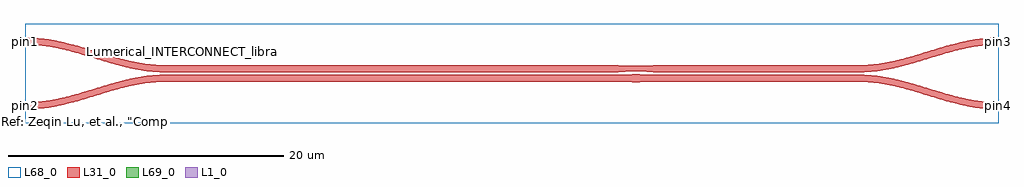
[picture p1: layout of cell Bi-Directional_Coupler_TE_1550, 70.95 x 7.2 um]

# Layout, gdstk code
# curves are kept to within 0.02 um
import gdstk
lib = gdstk.Library(unit=1e-6, precision=1e-09)
def R(c, l, rs):  # rectangles x0, y0, x1, y1
    for r in rs: c.add(gdstk.rectangle(r[:2], r[2:], *l))
def P(c, l, *ps):  # polygons
    for p in ps: c.add(gdstk.Polygon(p, *l))
L1_0 = (1, 0)
L31_0 = (31, 0)
L68_0 = (68, 0)
L69_0 = (69, 0)

bi_directional_coupler_t = lib.new_cell('Bi-Directional_Coupler_TE_1550')
R(bi_directional_coupler_t, L1_0, [(-35.45,-2.6,-35.35,-2.1), (35.2,-2.6,35.3,-2.1), (-35.45,2.1,-35.35,2.6), (35.2,2.1,35.3,2.6)])
R(bi_directional_coupler_t, L31_0, [(8.65,-0.65,9.2,-0.05), (-25.35,-0.6,7.65,-0.1), (10.2,-0.6,25.2,-0.1), (-25.35,0.1,7.65,0.6), (10.2,0.1,25.2,0.6), (8.65,0.15,9.2,0.55)])
P(bi_directional_coupler_t, L31_0, [(-25.35,0.1),(-26.412,0.157),(-27.547,0.332),(-28.852,0.645),(-31.688,1.491),(-32.858,1.794),(-34.041,2.01),(-34.742,2.08),(-35.35,2.1),(-35.35,2.6),(-34.288,2.543),(-33.153,2.368),(-31.848,2.055),(-29.012,1.209),(-27.842,0.906),(-26.659,0.69),(-25.958,0.62),(-25.35,0.6)],
  [(-35.35,-2.6),(-35.35,-2.1),(-34.742,-2.08),(-34.041,-2.01),(-32.858,-1.794),(-31.688,-1.491),(-28.852,-0.645),(-27.547,-0.332),(-26.412,-0.157),(-25.35,-0.1),(-25.35,-0.6),(-25.958,-0.62),(-26.659,-0.69),(-27.842,-0.906),(-29.012,-1.209),(-31.848,-2.055),(-33.153,-2.368),(-34.288,-2.543)],
  [(25.2,0.1),(25.2,0.6),(25.808,0.62),(26.509,0.69),(27.692,0.906),(28.862,1.209),(31.698,2.055),(33.003,2.368),(34.138,2.543),(35.2,2.6),(35.2,2.1),(34.592,2.08),(33.891,2.01),(32.708,1.794),(31.538,1.491),(28.702,0.645),(27.397,0.332),(26.262,0.157)],
  [(35.2,-2.6),(34.138,-2.543),(33.003,-2.368),(31.698,-2.055),(28.862,-1.209),(27.692,-0.906),(26.509,-0.69),(25.808,-0.62),(25.2,-0.6),(25.2,-0.1),(26.262,-0.157),(27.397,-0.332),(28.702,-0.645),(31.538,-1.491),(32.708,-1.794),(33.891,-2.01),(34.592,-2.08),(35.2,-2.1)],
  [(9.2,-0.65),(9.2,-0.05),(10.2,-0.1),(10.2,-0.6)],
  [(10.2,0.1),(9.2,0.15),(9.2,0.55),(10.2,0.6)],
  [(8.65,-0.65),(7.65,-0.6),(7.65,-0.1),(8.65,-0.05)],
  [(7.65,0.1),(7.65,0.6),(8.65,0.55),(8.65,0.15)])
R(bi_directional_coupler_t, L68_0, [(-35.45,-3.6,35.3,3.6)])
bi_directional_coupler_t.add(gdstk.FlexPath([(35.2,-2.35),(35.4,-2.35)], 0.5, ends="flush", simple_path=True, layer=69, datatype=0))  # L69_0
bi_directional_coupler_t.add(gdstk.FlexPath([(35.2,2.35),(35.4,2.35)], 0.5, ends="flush", simple_path=True, layer=69, datatype=0))  # L69_0
bi_directional_coupler_t.add(gdstk.FlexPath([(-35.55,-2.35),(-35.35,-2.35)], 0.5, ends="flush", simple_path=True, layer=69, datatype=0))  # L69_0
bi_directional_coupler_t.add(gdstk.FlexPath([(-35.55,2.35),(-35.35,2.35)], 0.5, ends="flush", simple_path=True, layer=69, datatype=0))  # L69_0
bi_directional_coupler_t.add(gdstk.Label('pin1', (-35.45,2.35), layer=69, texttype=0))
bi_directional_coupler_t.add(gdstk.Label('Ref: Zeqin Lu, et al., "Comparison of photonic 2x2 3-dB couplers for 220 nm silicon-on-insulator platforms," GFP 2015', (-35.35,-3.5), layer=69, texttype=0))
bi_directional_coupler_t.add(gdstk.Label('pin4', (35.3,-2.35), layer=69, texttype=0))
bi_directional_coupler_t.add(gdstk.Label('pin3', (35.3,2.35), layer=69, texttype=0))
bi_directional_coupler_t.add(gdstk.Label('pin2', (-35.45,-2.35), layer=69, texttype=0))
bi_directional_coupler_t.add(gdstk.Label('Lumerical_INTERCONNECT_library=Design kits/ebeam_v1.2', (-24.01,1.61), layer=68, texttype=0))

lib.write_gds('Bi-Directional_Coupler_TE_1550.gds')
